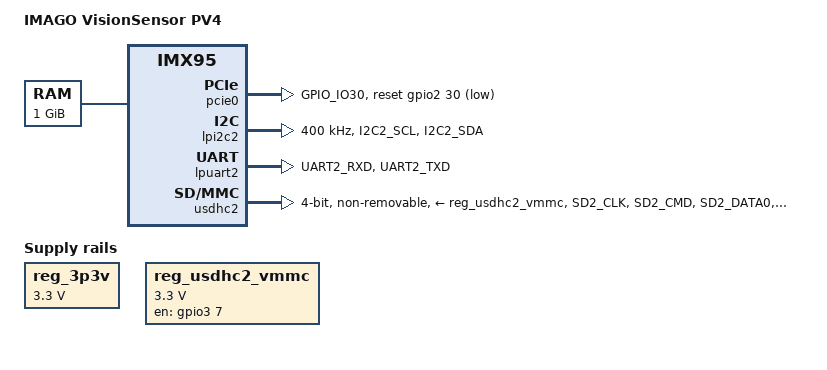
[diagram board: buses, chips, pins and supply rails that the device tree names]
// SPDX-License-Identifier: (GPL-2.0+ OR MIT)
/*
 * Copyright 2025-2026 IMAGO Technologies GmbH
 */

/dts-v1/;

#include "../dts/upstream/src/arm64/freescale/imx95.dtsi"
#include "imx95-u-boot.dtsi"

/ {
	model = "IMAGO VisionSensor PV4";
	compatible = "imago,visionsensor-pv4", "fsl,imx95";

	aliases {
		gpio0 = &gpio1;
		gpio1 = &gpio2;
		gpio2 = &gpio3;
		gpio3 = &gpio4;
		gpio4 = &gpio5;
		i2c0 = &lpi2c1;
		i2c1 = &lpi2c2;
/*		mmc0 = &usdhc2;*/
		mmc0 = &usdhc1;
		mmc1 = &usdhc2;
		mmc2 = &usdhc3;
		serial0 = &lpuart1;
		serial1 = &lpuart2;
	};

	chosen {
		stdout-path = &lpuart2;
	};

	memory@80000000 {
		device_type = "memory";
		reg = <0x0 0x80000000 0 0x40000000>;
	};

	reg_3p3v: regulator-3p3v {
		compatible = "regulator-fixed";
		regulator-max-microvolt = <3300000>;
		regulator-min-microvolt = <3300000>;
		regulator-name = "+V3.3_SW";
	};
	reg_usdhc2_vmmc: regulator-usdhc2 {
		compatible = "regulator-fixed";
		pinctrl-names = "default";
		pinctrl-0 = <&pinctrl_reg_usdhc2_vmmc>;
		regulator-name = "VDD_SD2_3V3";
		regulator-min-microvolt = <3300000>;
		regulator-max-microvolt = <3300000>;
		gpio = <&gpio3 7 GPIO_ACTIVE_HIGH>;
		off-on-delay-us = <12000>;
		enable-active-high;
	};
};

&pcie0 {
	pinctrl-0 = <&pinctrl_pcie0>;
	pinctrl-names = "default";
	reset-gpio = <&gpio2 30 GPIO_ACTIVE_LOW>;
	status = "okay";
};

&lpi2c2 {
	#address-cells = <1>;
	#size-cells = <0>;
	clock-frequency = <400000>;
	pinctrl-names = "default";
	pinctrl-0 = <&pinctrl_lpi2c2>;
	status = "okay";
};

/* Console */
&lpuart2 {
	pinctrl-names = "default";
	pinctrl-0 = <&pinctrl_uart2>;
	status = "okay";
};

&usdhc2 {
	pinctrl-names = "default", "state_100mhz", "state_200mhz";
	pinctrl-0 = <&pinctrl_usdhc2>;
	pinctrl-1 = <&pinctrl_usdhc2_100mhz>;
	pinctrl-2 = <&pinctrl_usdhc2_200mhz>;
	vmmc-supply = <&reg_usdhc2_vmmc>;
	bus-width = <4>;
	non-removable;
	status = "okay";
};

&scmi_iomuxc {
	pinctrl_pcie0: pcie0grp {
		fsl,pins = <
			IMX95_PAD_GPIO_IO30__GPIO2_IO_BIT30			0x31e
		>;
	};

	pinctrl_lpi2c1: lpi2c1grp {
		fsl,pins = <
			IMX95_PAD_I2C1_SCL__AONMIX_TOP_LPI2C1_SCL	0x40000b9e
			IMX95_PAD_I2C1_SDA__AONMIX_TOP_LPI2C1_SDA	0x40000b9e
		>;
	};

	pinctrl_lpi2c2: lpi2c2grp {
		fsl,pins = <
			IMX95_PAD_I2C2_SCL__AONMIX_TOP_LPI2C2_SCL	0x40000b9e
			IMX95_PAD_I2C2_SDA__AONMIX_TOP_LPI2C2_SDA	0x40000b9e
		>;
	};

	pinctrl_uart1: uart1grp {
		fsl,pins = <
			IMX95_PAD_UART1_RXD__AONMIX_TOP_LPUART1_RX      0x31e
			IMX95_PAD_UART1_TXD__AONMIX_TOP_LPUART1_TX      0x31e
		>;
	};

	pinctrl_uart2: uart2grp {
		fsl,pins = <
			IMX95_PAD_UART2_RXD__AONMIX_TOP_LPUART2_RX      0x31e
			IMX95_PAD_UART2_TXD__AONMIX_TOP_LPUART2_TX      0x31e
		>;
	};

	pinctrl_reg_usdhc2_vmmc: regusdhc2vmmcgrp {
		fsl,pins = <
			IMX95_PAD_SD2_RESET_B__GPIO3_IO_BIT7			0x31e
		>;
	};

	pinctrl_usdhc2: usdhc2grp {
		fsl,pins = <
			IMX95_PAD_SD2_CLK__USDHC2_CLK				0x158e
			IMX95_PAD_SD2_CMD__USDHC2_CMD				0x138e
			IMX95_PAD_SD2_DATA0__USDHC2_DATA0			0x138e
			IMX95_PAD_SD2_DATA1__USDHC2_DATA1			0x138e
			IMX95_PAD_SD2_DATA2__USDHC2_DATA2			0x138e
			IMX95_PAD_SD2_DATA3__USDHC2_DATA3			0x138e
			IMX95_PAD_SD2_VSELECT__USDHC2_VSELECT			0x51e
		>;
	};

	pinctrl_usdhc2_100mhz: usdhc2-100mhzgrp {
		fsl,pins = <
			IMX95_PAD_SD2_CLK__USDHC2_CLK				0x158e
			IMX95_PAD_SD2_CMD__USDHC2_CMD				0x138e
			IMX95_PAD_SD2_DATA0__USDHC2_DATA0			0x138e
			IMX95_PAD_SD2_DATA1__USDHC2_DATA1			0x138e
			IMX95_PAD_SD2_DATA2__USDHC2_DATA2			0x138e
			IMX95_PAD_SD2_DATA3__USDHC2_DATA3			0x138e
			IMX95_PAD_SD2_VSELECT__USDHC2_VSELECT			0x51e
		>;
	};

	pinctrl_usdhc2_200mhz: usdhc2-200mhzgrp {
		fsl,pins = <
			IMX95_PAD_SD2_CLK__USDHC2_CLK				0x15fe
			IMX95_PAD_SD2_CMD__USDHC2_CMD				0x13fe
			IMX95_PAD_SD2_DATA0__USDHC2_DATA0			0x13fe
			IMX95_PAD_SD2_DATA1__USDHC2_DATA1			0x13fe
			IMX95_PAD_SD2_DATA2__USDHC2_DATA2			0x13fe
			IMX95_PAD_SD2_DATA3__USDHC2_DATA3			0x13fe
			IMX95_PAD_SD2_VSELECT__USDHC2_VSELECT			0x51e
		>;
	};
};


/delete-node/ &pcie1;
/delete-node/ &pcie1_ep;

/* Note: visionsensor-pv4-u-boot.dtsi is included automatically */
